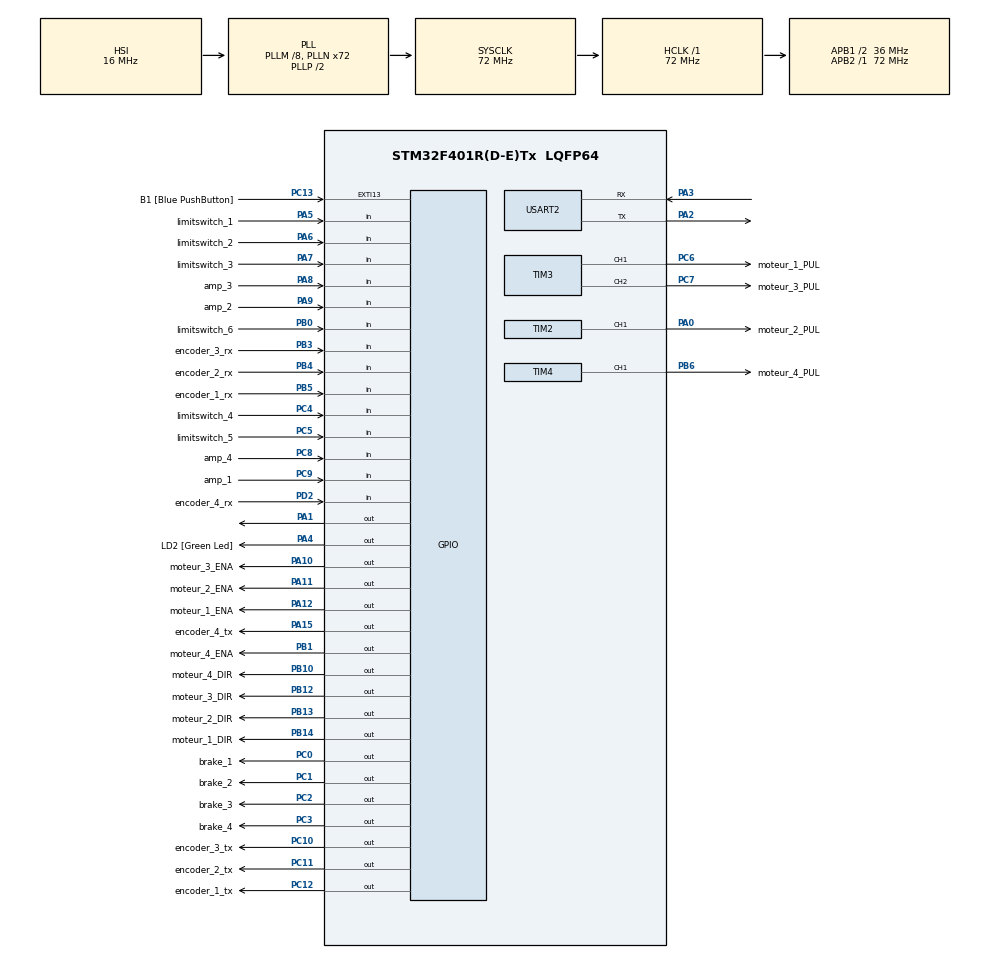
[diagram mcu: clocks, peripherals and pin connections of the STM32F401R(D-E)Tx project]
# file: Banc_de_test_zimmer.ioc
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Mcu.Family=STM32F4
Mcu.Name=STM32F401R(D-E)Tx
Mcu.Package=LQFP64
NVIC.PriorityGroup=NVIC_PRIORITYGROUP_0
NVIC.TIM3_IRQn=true\:0\:0\:false\:false\:true\:true\:true\:true
PA0-WKUP.GPIO_Label=moteur_2_PUL
PA0-WKUP.Signal=S_TIM2_CH1_ETR
PA1.Signal=GPIO_Output
PA10.GPIO_Label=moteur_3_ENA
PA10.Signal=GPIO_Output
PA11.GPIO_Label=moteur_2_ENA
PA11.Signal=GPIO_Output
PA12.GPIO_Label=moteur_1_ENA
PA12.Signal=GPIO_Output
PA13.GPIO_Label=TMS
PA13.Signal=SYS_JTMS-SWDIO
PA14.GPIO_Label=TCK
PA14.Signal=SYS_JTCK-SWCLK
PA15.GPIO_Label=encoder_4_tx
PA15.Signal=GPIO_Output
PA2.GPIO_Mode=GPIO_MODE_AF_PP
PA2.GPIO_ModeDefaultPP=GPIO_MODE_AF_PP
PA2.GPIO_PuPd=GPIO_NOPULL
PA2.GPIO_Speed=GPIO_SPEED_FREQ_VERY_HIGH
PA2.Mode=Asynchronous
PA2.Signal=USART2_TX
PA3.GPIO_Mode=GPIO_MODE_AF_PP
PA3.GPIO_ModeDefaultPP=GPIO_MODE_AF_PP
PA3.GPIO_PuPd=GPIO_NOPULL
PA3.GPIO_Speed=GPIO_SPEED_FREQ_VERY_HIGH
PA3.Mode=Asynchronous
PA3.Signal=USART2_RX
PA4.GPIO_Label=LD2 [Green Led]
PA4.GPIO_PuPd=GPIO_NOPULL
PA4.GPIO_Speed=GPIO_SPEED_FREQ_LOW
PA4.Signal=GPIO_Output
PA5.GPIO_Label=limitswitch_1
PA5.Signal=GPIO_Input
PA6.GPIO_Label=limitswitch_2
PA6.Signal=GPIO_Input
PA7.GPIO_Label=limitswitch_3
PA7.Signal=GPIO_Input
PA8.GPIO_Label=amp_3
PA8.Signal=GPIO_Input
PA9.GPIO_Label=amp_2
PA9.Signal=GPIO_Input
PB0.GPIO_Label=limitswitch_6
PB0.Signal=GPIO_Input
PB1.GPIO_Label=moteur_4_ENA
PB1.Signal=GPIO_Output
PB10.GPIO_Label=moteur_4_DIR
PB10.Signal=GPIO_Output
PB12.GPIO_Label=moteur_3_DIR
PB12.Signal=GPIO_Output
PB13.GPIO_Label=moteur_2_DIR
PB13.Signal=GPIO_Output
PB14.GPIO_Label=moteur_1_DIR
PB14.Signal=GPIO_Output
PB3.GPIO_Label=encoder_3_rx
PB3.Signal=GPIO_Input
PB4.GPIO_Label=encoder_2_rx
PB4.Signal=GPIO_Input
PB5.GPIO_Label=encoder_1_rx
PB5.Signal=GPIO_Input
PB6.GPIO_Label=moteur_4_PUL
PB6.Signal=S_TIM4_CH1
PC0.GPIO_Label=brake_1
PC0.Signal=GPIO_Output
PC1.GPIO_Label=brake_2
PC1.Signal=GPIO_Output
PC10.GPIO_Label=encoder_3_tx
PC10.Signal=GPIO_Output
PC11.GPIO_Label=encoder_2_tx
PC11.Signal=GPIO_Output
PC12.GPIO_Label=encoder_1_tx
PC12.Signal=GPIO_Output
PC13-ANTI_TAMP.GPIO_Label=B1 [Blue PushButton]
PC13-ANTI_TAMP.GPIO_ModeDefaultEXTI=GPIO_MODE_IT_FALLING
PC13-ANTI_TAMP.GPIO_PuPd=GPIO_NOPULL
PC13-ANTI_TAMP.Signal=GPXTI13
PC14-OSC32_IN.Signal=RCC_OSC32_IN
PC15-OSC32_OUT.Signal=RCC_OSC32_OUT
PC2.GPIO_Label=brake_3
PC2.Signal=GPIO_Output
PC3.GPIO_Label=brake_4
PC3.Signal=GPIO_Output
PC4.GPIO_Label=limitswitch_4
PC4.Signal=GPIO_Input
PC5.GPIO_Label=limitswitch_5
PC5.Signal=GPIO_Input
PC6.GPIO_Label=moteur_1_PUL
PC6.Signal=S_TIM3_CH1
PC7.GPIO_Label=moteur_3_PUL
PC7.Signal=S_TIM3_CH2
PC8.GPIO_Label=amp_4
PC8.Signal=GPIO_Input
PC9.GPIO_Label=amp_1
PC9.Signal=GPIO_Input
PD2.GPIO_Label=encoder_4_rx
PD2.Signal=GPIO_Input
PH0\ -\ OSC_IN.Mode=HSE-External-Oscillator
PH0\ -\ OSC_IN.Signal=RCC_OSC_IN
PH1\ -\ OSC_OUT.Mode=HSE-External-Oscillator
PH1\ -\ OSC_OUT.Signal=RCC_OSC_OUT
ProjectManager.HeapSize=0x200
ProjectManager.StackSize=0x400
ProjectManager.TargetToolchain=MDK-ARM V5.32
RCC.48MHZClocksFreq_Value=20571428.57142857
RCC.AHBFreq_Value=72000000
RCC.APB1CLKDivider=RCC_HCLK_DIV2
RCC.APB1Freq_Value=36000000
RCC.APB1TimFreq_Value=72000000
RCC.APB2Freq_Value=72000000
RCC.APB2TimFreq_Value=72000000
RCC.CortexFreq_Value=72000000
RCC.HCLKFreq_Value=72000000
RCC.HSE_VALUE=8000000
RCC.HSI_VALUE=16000000
RCC.LSE_VALUE=32768
RCC.PLLM=8
RCC.PLLN=72
RCC.PLLQ=7
RCC.SYSCLKFreq_VALUE=72000000
RCC.SYSCLKSource=RCC_SYSCLKSOURCE_PLLCLK
RCC.VCOOutputFreq_Value=144000000
SH.S_TIM2_CH1_ETR.0=TIM2_CH1,PWM Generation1 CH1
SH.S_TIM3_CH1.0=TIM3_CH1,PWM Generation1 CH1
SH.S_TIM3_CH2.0=TIM3_CH2,PWM Generation2 CH2
SH.S_TIM4_CH1.0=TIM4_CH1,PWM Generation1 CH1
TIM2.AutoReloadPreload=TIM_AUTORELOAD_PRELOAD_ENABLE
TIM2.Channel-PWM\ Generation1\ CH1=TIM_CHANNEL_1
TIM2.Period=71999
TIM2.Prescaler=0
TIM2.Pulse-PWM\ Generation1\ CH1=36000
TIM3.Channel-PWM\ Generation1\ CH1=TIM_CHANNEL_1
TIM3.Channel-PWM\ Generation2\ CH2=TIM_CHANNEL_2
TIM4.Channel-PWM\ Generation1\ CH1=TIM_CHANNEL_1
USART2.VirtualMode=VM_ASYNC
VP_TIM2_VS_ClockSourceINT.Mode=Internal
VP_TIM3_VS_ClockSourceINT.Mode=Internal
VP_TIM4_VS_ClockSourceINT.Mode=Internal
board=NUCLEO-F401RE

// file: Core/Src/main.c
/* USER CODE BEGIN Header */
/**
  ******************************************************************************
  * @file           : main.c
  * @brief          : Main program body
  ******************************************************************************
  * @attention
  *
  * Copyright (c) 2023 STMicroelectronics.
  * All rights reserved.
  *
  * This software is licensed under terms that can be found in the LICENSE file
  * in the root directory of this software component.
  * If no LICENSE file comes with this software, it is provided AS-IS.
  *
  ******************************************************************************
  */
/* USER CODE END Header */
#include "main.h"
#include "tim.h"
#include "usart.h"
#include "gpio.h"

/* USER CODE BEGIN Includes */
#include <stdio.h>

/* USER CODE END Includes */

/* USER CODE BEGIN PTD */

#ifndef __GNUC__
#define PUTCHAR_PROTOTYPE int __io_putchar(int ch)
#else
#define PUTCHAR_PROTOTYPE int fputc(int ch, FILE *f)
#endif /* __GNUC__ */
/* USER CODE END PTD */

void SystemClock_Config(void);
/* USER CODE BEGIN PFP */
/**
* @brief Retargets the C library printf function to the USART.
* @param None
* @retval None
*/

PUTCHAR_PROTOTYPE
{
/* Place your implementation of fputc here */
/* e.g. write a character to the USART2 and Loop until the end
of transmission */
HAL_UART_Transmit(&huart2, (uint8_t *)&ch, 1, 0xFFFF);
return ch;
}
/* USER CODE END PFP */

int main(void)
{

  /* MCU Configuration--------------------------------------------------------*/

  /* Reset of all peripherals, Initializes the Flash interface and the Systick. */
  HAL_Init();

  /* Configure the system clock */
  SystemClock_Config();

  /* Initialize all configured peripherals */
  MX_GPIO_Init();
  MX_TIM2_Init();
  MX_TIM3_Init();
  MX_TIM4_Init();
  MX_USART2_UART_Init();
  /* USER CODE BEGIN 2 */

	TIM2->CCR1 = (TIM2->ARR)/2;
	HAL_TIM_PWM_Start(&htim2, TIM_CHANNEL_1);
	int count = 0;
  /* USER CODE END 2 */

  /* Infinite loop */
  /* USER CODE BEGIN WHILE */
  while (1)
  {
		TIM2->ARR -= 100;

		if (TIM2->ARR <= 6000)
    {
			TIM2->ARR = 72000;
		}

		TIM2->CCR1 = (TIM2->ARR) / 2;
		HAL_Delay(100);

		//char str[80];
		//sprintf(str,"Amp = %i\n",TIM2->CCR1);

    /* USER CODE END WHILE */

  }
}

void SystemClock_Config(void)
{
  RCC_OscInitTypeDef RCC_OscInitStruct = {0};
  RCC_ClkInitTypeDef RCC_ClkInitStruct = {0};

  /** Configure the main internal regulator output voltage
  */
  __HAL_RCC_PWR_CLK_ENABLE();
  __HAL_PWR_VOLTAGESCALING_CONFIG(PWR_REGULATOR_VOLTAGE_SCALE2);

  /** Initializes the RCC Oscillators according to the specified parameters
  * in the RCC_OscInitTypeDef structure.
  */
  RCC_OscInitStruct.OscillatorType = RCC_OSCILLATORTYPE_HSI;
  RCC_OscInitStruct.HSIState = RCC_HSI_ON;
  RCC_OscInitStruct.HSICalibrationValue = RCC_HSICALIBRATION_DEFAULT;
  RCC_OscInitStruct.PLL.PLLState = RCC_PLL_ON;
  RCC_OscInitStruct.PLL.PLLSource = RCC_PLLSOURCE_HSI;
  RCC_OscInitStruct.PLL.PLLM = 8;
  RCC_OscInitStruct.PLL.PLLN = 72;
  RCC_OscInitStruct.PLL.PLLP = RCC_PLLP_DIV2;
  RCC_OscInitStruct.PLL.PLLQ = 7;
  if (HAL_RCC_OscConfig(&RCC_OscInitStruct) != HAL_OK)
  {
    Error_Handler();
  }

  /** Initializes the CPU, AHB and APB buses clocks
  */
  RCC_ClkInitStruct.ClockType = RCC_CLOCKTYPE_HCLK|RCC_CLOCKTYPE_SYSCLK
                              |RCC_CLOCKTYPE_PCLK1|RCC_CLOCKTYPE_PCLK2;
  RCC_ClkInitStruct.SYSCLKSource = RCC_SYSCLKSOURCE_PLLCLK;
  RCC_ClkInitStruct.AHBCLKDivider = RCC_SYSCLK_DIV1;
  RCC_ClkInitStruct.APB1CLKDivider = RCC_HCLK_DIV2;
  RCC_ClkInitStruct.APB2CLKDivider = RCC_HCLK_DIV1;

  if (HAL_RCC_ClockConfig(&RCC_ClkInitStruct, FLASH_LATENCY_2) != HAL_OK)
  {
    Error_Handler();
  }
}

void Error_Handler(void)
{
  __disable_irq();
  while (1)
  {
  }
}
